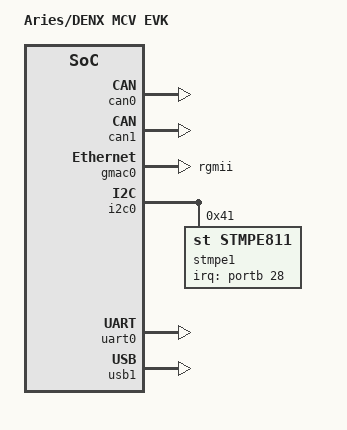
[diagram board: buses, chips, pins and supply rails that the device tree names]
/*
 * Copyright (C) 2015 Marek Vasut <marex@denx.de>
 *
 * This program is free software; you can redistribute it and/or modify
 * it under the terms of the GNU General Public License as published by
 * the Free Software Foundation; either version 2 of the License, or
 * (at your option) any later version.
 *
 * This program is distributed in the hope that it will be useful,
 * but WITHOUT ANY WARRANTY; without even the implied warranty of
 * MERCHANTABILITY or FITNESS FOR A PARTICULAR PURPOSE.  See the
 * GNU General Public License for more details.
 *
 * You should have received a copy of the GNU General Public License
 * along with this program.  If not, see <http://www.gnu.org/licenses/>.
 */

#include "socfpga_cyclone5_mcv.dtsi"

/ {
	model = "Aries/DENX MCV EVK";
	compatible = "denx,mcvevk", "altr,socfpga-cyclone5", "altr,socfpga";

	aliases {
		ethernet0 = &gmac0;
		stmpe-i2c0 = &stmpe1;
	};

	chosen {
		stdout-path = "serial0:115200n8";
	};
};

&can0 {
	status = "okay";
};

&can1 {
	status = "okay";
};

&gmac0 {
	phy-mode = "rgmii";
	status = "okay";
};

&gpio0 {	/* GPIO  0 ... 28 */
	status = "okay";
};

&gpio1 {	/* GPIO 29 ... 57 */
	status = "okay";
};

&gpio2 {	/* GPIO 58..66 (HLGPI 0..13 at offset 13) */
	status = "okay";
};

&i2c0 {
	status = "okay";
	speed-mode = <0>;

	stmpe1: stmpe811@41 {
		compatible = "st,stmpe811";
		#address-cells = <1>;
		#size-cells = <0>;
		reg = <0x41>;
		id = <0>;
		blocks = <0x5>;
		irq-gpio = <&portb 28 0x4>;     /* GPIO 57, trig. level HI */

		stmpe_touchscreen {
			compatible = "st,stmpe-ts";
			reg = <0>;
			ts,sample-time = <4>;
			ts,mod-12b = <1>;
			ts,ref-sel = <0>;
			ts,adc-freq = <1>;
			ts,ave-ctrl = <1>;
			ts,touch-det-delay = <3>;
			ts,settling = <4>;
			ts,fraction-z = <7>;
			ts,i-drive = <1>;
		};
	};
};

&uart0 {
	status = "okay";
};

&usb1 {
	status = "okay";
};
